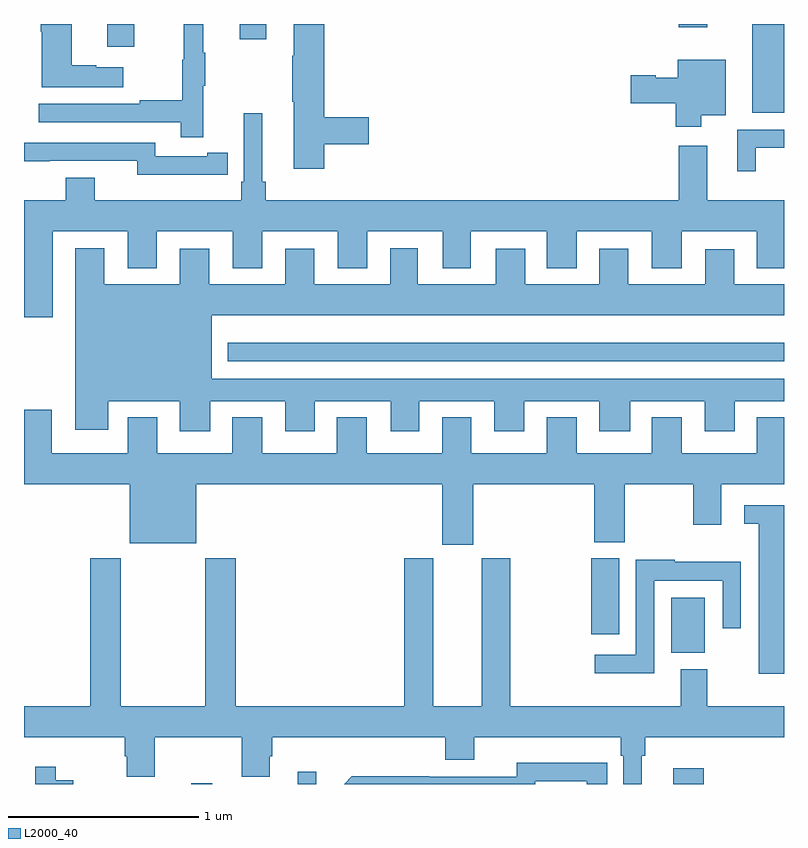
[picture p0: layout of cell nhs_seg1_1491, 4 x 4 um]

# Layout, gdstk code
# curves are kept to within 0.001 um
import gdstk
lib = gdstk.Library(unit=1e-6, precision=1e-09)
def R(c, l, rs):  # rectangles x0, y0, x1, y1
    for r in rs: c.add(gdstk.rectangle(r[:2], r[2:], *l))
def P(c, l, *ps):  # polygons
    for p in ps: c.add(gdstk.Polygon(p, *l))
L2000_40 = (2000, 40)

nhs_seg1_1491 = lib.new_cell('nhs_seg1_1491')
R(nhs_seg1_1491, L2000_40, [(193.879,506.199,193.99,506.203), (194.441,506.199,194.538,506.263), (196.418,506.199,196.577,506.281), (196.406,506.891,196.582,507.178), (195.985,506.988,196.132,507.387), (194.072,508.425,197,508.522), (196.832,509.732,197,510.199), (193.439,510.078,193.579,510.199), (194.135,510.12,194.275,510.199), (196.445,510.183,196.597,510.199)])
P(nhs_seg1_1491, L2000_40, [(194.579,509.566),(194.815,509.566),(194.815,509.708),(194.579,509.708),(194.579,510.199),(194.42,510.199),(194.42,510.032),(194.413,510.032),(194.413,509.791),(194.42,509.791),(194.42,509.436),(194.579,509.436)],
  [(193.522,509.971),(193.379,509.971),(193.379,509.981),(193.252,509.981),(193.252,510.199),(193.087,510.199),(193.087,510.158),(193.094,510.158),(193.094,509.867),(193.522,509.867)],
  [(193.943,509.875),(193.954,509.875),(193.954,510.049),(193.943,510.049),(193.943,510.199),(193.84,510.199),(193.84,510.012),(193.833,510.012),(193.833,509.798),(193.609,509.798),(193.609,509.778),(193.077,509.778),(193.077,509.682),(193.825,509.682),(193.825,509.604),(193.943,509.604)],
  [(196.564,509.72),(196.693,509.72),(196.693,510.01),(196.442,510.01),(196.442,509.917),(196.326,509.917),(196.326,509.93),(196.194,509.93),(196.194,509.783),(196.43,509.783),(196.43,509.658),(196.564,509.658)],
  [(193.15,509.108),(193.547,509.108),(193.547,508.914),(193.699,508.914),(193.699,509.108),(194.099,509.108),(194.099,508.914),(194.254,508.914),(194.254,509.108),(194.651,509.108),(194.651,508.914),(194.806,508.914),(194.806,509.108),(195.203,509.108),(195.203,508.914),(195.352,508.914),(195.352,509.108),(195.752,509.108),(195.752,508.914),(195.91,508.914),(195.91,509.108),(196.304,509.108),(196.304,508.914),(196.462,508.914),(196.462,509.108),(196.856,509.108),(196.856,508.914),(197,508.914),(197,509.272),(196.597,509.272),(196.597,509.557),(196.445,509.557),(196.445,509.272),(194.273,509.272),(194.273,509.368),(194.254,509.368),(194.254,509.728),(194.157,509.728),(194.157,509.368),(194.144,509.368),(194.144,509.272),(193.372,509.272),(193.372,509.389),(193.22,509.389),(193.22,509.272),(193,509.272),(193,508.656),(193.15,508.656)],
  [(196.852,509.547),(197,509.547),(197,509.643),(196.754,509.643),(196.754,509.424),(196.852,509.424)],
  [(193.964,509.406),(194.072,509.406),(194.072,509.522),(193.964,509.522),(193.964,509.502),(193.692,509.502),(193.692,509.574),(193,509.574),(193,509.477),(193.136,509.477),(193.136,509.478),(193.596,509.478),(193.596,509.405),(193.964,509.405)],
  [(193.981,508.214),(194.375,508.214),(194.375,508.056),(194.53,508.056),(194.53,508.214),(194.93,508.214),(194.93,508.056),(195.079,508.056),(195.079,508.214),(195.476,508.214),(195.476,508.056),(195.634,508.056),(195.634,508.214),(196.028,508.214),(196.028,508.056),(196.192,508.056),(196.192,508.214),(196.583,508.214),(196.583,508.056),(196.741,508.056),(196.741,508.214),(197,508.214),(197,508.333),(193.987,508.333),(193.987,508.667),(197,508.667),(197,508.828),(196.738,508.828),(196.738,509.014),(196.586,509.014),(196.586,508.828),(196.18,508.828),(196.18,509.017),(196.028,509.017),(196.028,508.828),(195.637,508.828),(195.637,509.017),(195.482,509.017),(195.482,508.828),(195.073,508.828),(195.073,509.02),(194.927,509.02),(194.927,508.828),(194.527,508.828),(194.527,509.017),(194.375,509.017),(194.375,508.828),(193.975,508.828),(193.975,509.017),(193.82,509.017),(193.82,508.828),(193.423,508.828),(193.423,509.02),(193.271,509.02),(193.271,508.064),(193.444,508.064),(193.444,508.214),(193.82,508.214),(193.82,508.056),(193.981,508.056)],
  [(195.364,507.776),(196.001,507.776),(196.001,507.472),(196.161,507.472),(196.161,507.776),(196.522,507.776),(196.522,507.564),(196.669,507.564),(196.669,507.776),(197,507.776),(197,508.129),(196.856,508.129),(196.856,507.94),(196.462,507.94),(196.462,508.129),(196.304,508.129),(196.304,507.94),(195.91,507.94),(195.91,508.129),(195.752,508.129),(195.752,507.94),(195.355,507.94),(195.355,508.129),(195.2,508.129),(195.2,507.94),(194.803,507.94),(194.803,508.129),(194.645,508.129),(194.645,507.94),(194.254,507.94),(194.254,508.129),(194.096,508.129),(194.096,507.94),(193.702,507.94),(193.702,508.129),(193.547,508.129),(193.547,507.94),(193.147,507.94),(193.147,508.168),(193,508.168),(193,507.776),(193.556,507.776),(193.556,507.467),(193.906,507.467),(193.906,507.776),(195.2,507.776),(195.2,507.459),(195.364,507.459)],
  [(197,507.666),(196.791,507.666),(196.791,507.569),(196.868,507.569),(196.868,506.78),(197,506.78)],
  [(196.252,506.348),(196.271,506.348),(196.271,506.444),(197,506.444),(197,506.608),(196.597,506.608),(196.597,506.803),(196.457,506.803),(196.457,506.608),(195.558,506.608),(195.558,507.387),(195.41,507.387),(195.41,506.608),(195.154,506.608),(195.154,507.387),(195.002,507.387),(195.002,506.608),(194.114,506.608),(194.114,507.388),(193.954,507.388),(193.954,506.608),(193.509,506.608),(193.509,507.388),(193.349,507.388),(193.349,506.608),(193,506.608),(193,506.444),(193.529,506.444),(193.529,506.346),(193.541,506.346),(193.541,506.236),(193.689,506.236),(193.689,506.444),(194.146,506.444),(194.146,506.236),(194.293,506.236),(194.293,506.346),(194.306,506.346),(194.306,506.444),(195.218,506.444),(195.218,506.327),(195.37,506.327),(195.37,506.444),(196.142,506.444),(196.142,506.348),(196.155,506.348),(196.155,506.199),(196.252,506.199)],
  [(196.317,507.269),(196.677,507.269),(196.677,507.018),(196.773,507.018),(196.773,507.37),(196.424,507.37),(196.424,507.38),(196.221,507.38),(196.221,506.88),(196.005,506.88),(196.005,506.783),(196.317,506.783)],
  [(195.69,506.214),(195.962,506.214),(195.962,506.199),(196.07,506.199),(196.07,506.31),(195.594,506.311),(195.594,506.238),(195.134,506.238),(195.134,506.24),(194.726,506.24),(194.685,506.199),(195.69,506.199)],
  [(193.26,506.22),(193.168,506.22),(193.168,506.29),(193.059,506.29),(193.059,506.199),(193.26,506.199)])

lib.write_gds('nhs_seg1_1491.gds')
